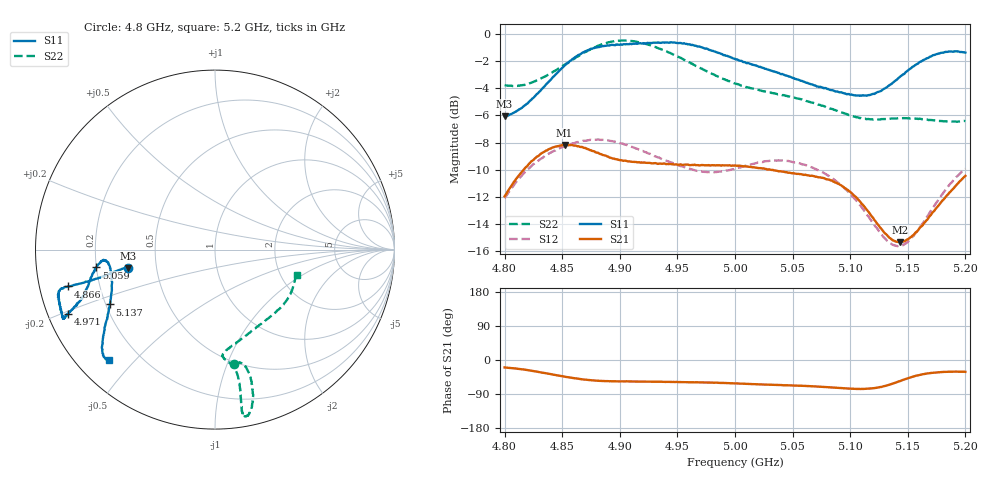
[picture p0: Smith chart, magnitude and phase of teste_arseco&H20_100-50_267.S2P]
! Network Analyzer HP8722D
! Hewlett-Packard
! Data name: Linha & Wilkinson
! Saver's name: Rodrigo Anjos
! Comments: Teste da utilização de aquisição
! continua pelo VNA HP8722D
! Time and date: 6/5/2025 14:47
!  Frequency  S11  S21  S12  S22
# HZ  S  MA R 50
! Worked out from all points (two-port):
!   401 points, 4.8 GHz to 5.2 GHz, reference 50 ohm
!   highest |S21| = -8.17 dB at 4.852 GHz (marker M1); lowest = -15.3 dB at 5.143 GHz (marker M2)
!   |S21| within 3 dB of the highest: 4.806 GHz to 5.093 GHz (286.6 MHz wide, 5.79 % of centre); 5.191694 GHz to end of sweep
!   lowest |S11| = -6.1 dB at 4.8 GHz (marker M3), VSWR 2.97, Z = 17 - j4.58 ohm
!   |S11| at or under -10 dB: nowhere
!   |S22| runs from -6.5 to -0.5 dB; largest |S21 - S12| = 0.62
!   S11 on the Smith chart (normalised r, x): 4.8 GHz: 0.34, -0.09; 4.866 GHz: 0.09, -0.12; 4.971 GHz: 0.06, -0.21; 5.059 GHz: 0.20, -0.07; 5.137 GHz: 0.22, -0.23; 5.2 GHz: 0.09, -0.42
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4.8e9  0.4968 -168.2  0.2527 -19.7  0.2485 -140.9  0.6478 -80.4
4.823e9  0.571 -167.6  0.3389 -28.1  0.3251 -143.8  0.6608 -76.0
4.852e9  0.7632 -165.9  0.3903 -43.8  0.3864 -149.4  0.7692 -74.6
4.866e9  0.8423 -165.9  0.3837 -50.3  0.4019 -151.9  0.8375 -75.3
4.867e9  0.8484 -165.9  0.3838 -50.8  0.4026 -152.0  0.8436 -75.5
4.879e9  0.8916 -165.5  0.3665 -54.3  0.4077 -154.1  0.894 -76.6
4.9e9  0.9114 -162.7  0.3432 -56.4  0.3962 -156.6  0.9421 -79.1
4.934e9  0.928 -156.5  0.333 -57.5  0.3511 -155.6  0.8827 -80.4
4.971e9  0.8917 -156.4  0.3291 -59.3  0.3121 -146.5  0.7454 -79.6
5e9  0.8076 -159.1  0.328 -61.8  0.3194 -137.2  0.657 -81.2
5.036e9  0.7225 -165.7  0.3136 -65.9  0.3416 -134.4  0.6011 -85.7
5.059e9  0.6681 -171.5  0.3031 -68.2  0.3309 -136.2  0.5715 -84.3
5.067e9  0.6517 -173.0  0.3007 -69.2  0.3225 -136.7  0.5584 -82.6
5.084e9  0.6208 -174.5  0.2889 -72.5  0.2952 -138.4  0.5299 -76.2
5.101e9  0.5979 -172.0  0.2602 -75.8  0.2554 -138.8  0.4998 -66.6
5.116e9  0.5952 -165.4  0.2209 -75.9  0.2127 -135.5  0.4861 -55.7
5.134e9  0.6464 -154.3  0.1781 -65.2  0.1704 -120.8  0.4869 -43.3
5.137e9  0.661 -152.5  0.174 -62.2  0.1677 -116.9  0.4882 -41.5
5.143e9  0.6929 -149.2  0.1714 -55.9  0.166 -108.9  0.4888 -38.0
5.154e9  0.7556 -144.5  0.181 -44.5  0.1792 -95.0  0.488 -32.3
5.173e9  0.8359 -138.9  0.2234 -33.3  0.2334 -80.7  0.4805 -24.2
5.2e9  0.8529 -133.7  0.3004 -31.3  0.3191 -76.9  0.4775 -17.4
